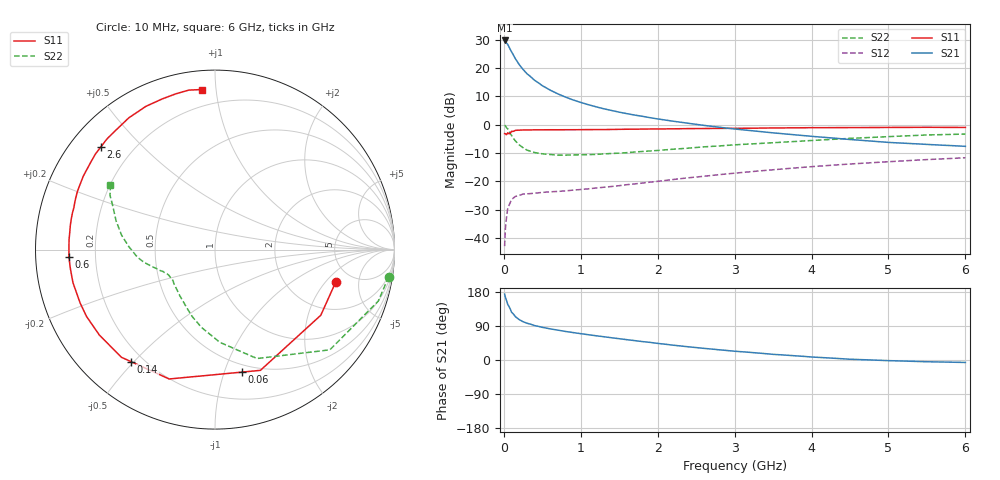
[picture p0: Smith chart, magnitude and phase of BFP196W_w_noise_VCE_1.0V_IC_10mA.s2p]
! Infineon Technologies  Discrete & RF Semiconductors
! BFP196W
! VCE =  1.0 V,  IC =  10 mA
! Common Emitter S-Parameters:  Jan 2017
# GHz  S  MA  R  50
!  f  S11  S21  S12  S22
! GHz  MAG  ANG  MAG  ANG  MAG  ANG  MAG  ANG
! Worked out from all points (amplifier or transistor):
!   77 points, 10 MHz to 6 GHz, reference 50 ohm
!   highest |S21| = 29.7 dB at 10 MHz (marker M1)
!   |S21| within 3 dB of that: start of sweep to 80.06 MHz
!   unconditionally stable (mu >= 1): 1.212 GHz to 3.681 GHz
!   at 130 MHz: K = 0.15, MSG = 25.0 dB, |S12| = -25.7 dB
!   at 2.2 GHz: K = 1.11, MAG = 8.3 dB, |S12| = -19.3 dB
!   at 6 GHz: K = 0.97, MSG = 2.0 dB, |S12| = -11.7 dB
!   lowest NFmin = 0.91 dB at 450 MHz
!   S11 on the Smith chart (normalised r, x): 10 MHz: 3.69, -2.58; 60 MHz: 0.43, -1.15; 140 MHz: 0.15, -0.49; 600 MHz: 0.10, -0.03; 2.6 GHz: 0.09, +0.38; 6 GHz: 0.10, +0.92
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0.01  0.6966 -15.0  30.61 173.8  0.0072 82.3  0.9796 -8.9
0.02  0.6937 -31.8  29.71 165.7  0.0143 79.8  0.9539 -17.5
0.05  0.7188 -69.4  26.16 147.0  0.033 58.9  0.8493 -41.1
0.06  0.699 -77.5  24.57 143.8  0.0356 54.2  0.7968 -45.5
0.1  0.7647 -109.5  19.3 126.2  0.0478 41.2  0.6505 -68.9
0.14  0.7802 -126.9  15.46 117.3  0.0529 34.1  0.539 -82.7
0.15  0.7949 -131.0  14.58 114.3  0.0543 32.6  0.5173 -87.0
0.2  0.8011 -143.6  11.48 106.6  0.0566 27.5  0.4404 -99.8
0.25  0.8069 -152.5  9.427 101.0  0.0598 24.6  0.3928 -109.1
0.3  0.8082 -158.4  7.947 97.1  0.0602 23.3  0.3571 -116.6
0.4  0.8126 -166.9  6.068 90.8  0.0619 22.5  0.3233 -127.3
0.5  0.8128 -172.6  4.88 86.2  0.0639 22.5  0.3064 -134.4
0.6  0.8147 -177.0  4.09 82.3  0.0655 23.7  0.2981 -139.9
0.8  0.815 176.1  3.076 75.4  0.0679 26.8  0.2907 -145.9
1.1  0.8188 168.1  2.251 66.7  0.074 31.4  0.296 -151.9
1.5  0.8282 159.2  1.663 56.2  0.084 36.3  0.3148 -157.3
2.1  0.8432 146.9  1.207 41.6  0.104 41.0  0.3601 -164.5
2.6  0.8557 137.9  0.973 30.7  0.1231 42.5  0.4066 -170.6
3.1  0.8649 129.5  0.814 21.7  0.1437 41.7  0.4489 -177.1
4.1  0.8859 114.5  0.608 6.8  0.1859 37.6  0.5351 169.7
5.1  0.8956 103.1  0.479 -2.2  0.2263 30.8  0.6242 156.3
6  0.8946 94.6  0.415 -6.5  0.2608 24.1  0.6836 148.4
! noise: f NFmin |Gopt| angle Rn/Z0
0.45  0.91  0.36  146  0.06
0.9  1.19  0.53  168  0.05
1.9  2.27  0.71  -158  0.1
2.4  2.77  0.76  -149  0.22
